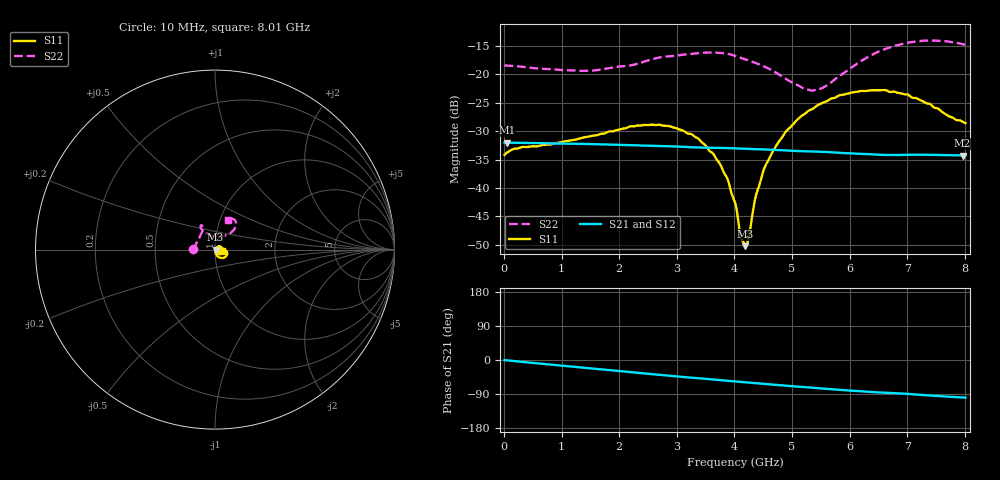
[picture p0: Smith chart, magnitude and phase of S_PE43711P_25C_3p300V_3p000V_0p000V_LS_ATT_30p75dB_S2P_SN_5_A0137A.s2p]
! Device ID: PE43711P
! File Path: z:\PE43711P\CHAR_NOM_04282014\AMB\3p300\LS_ATT_30p75dB\PE43711P_AMB_3p300V_3p000V_0p000V_LS_ATT_30p75dB_S2P_SN_5_A0137A.s2p
! Serial: 5
! Lot: A0137A
! Temp: 25C
! VDD: 3.300
! VSS: 0.000
! Control_Hi: 3.000
! Control_Lo: 0.000
! Attenuation Step: 30.75dB
! Port 1: RF1
! Port 2: RF2
! ThroughPath:1-2
! IDD: 0.0001277888
! ISS: -1.295e-007
#  Hz  S  RI  R  50
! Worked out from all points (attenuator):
!   801 points, 10 MHz to 8.01 GHz, reference 50 ohm
!   highest |S21| = -32.02 dB at 50 MHz (marker M1); lowest = -34.3 dB at 7.96 GHz (marker M2)
!   lowest |S11| = -50.2 dB at 4.19 GHz (marker M3), VSWR 1.01, Z = 50.3 - j0.0964 ohm
!   |S11| at or under -10 dB: start of sweep to end of sweep
!   |S22| runs from -22.9 to -14.0 dB; largest |S21 - S12| = 9.2e-05
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1e7  0.0196 0.00055  0.0251 -9.41e-05  0.0251 -9.9e-05  -0.1204 0.000964
5e7  0.0204 0.00129  0.0251 -0.000365  0.0251 -0.000355  -0.1196 0.00313
1.35e9  0.0266 0.00714  0.023 -0.00843  0.023 -0.00844  -0.0934 0.053
2.2e9  0.0326 0.0125  0.0201 -0.0128  0.0201 -0.0128  -0.0719 0.0964
2.68e9  0.032 0.0167  0.0182 -0.0147  0.0183 -0.0147  -0.0695 0.122
3.25e9  0.0235 0.0184  0.0157 -0.0166  0.0157 -0.0166  -0.0719 0.1334
3.49e9  0.0172 0.0166  0.0147 -0.0173  0.0147 -0.0172  -0.0758 0.1356
3.76e9  0.0102 0.0122  0.0136 -0.018  0.0136 -0.018  -0.0799 0.1322
3.88e9  0.0075 0.00936  0.013 -0.0183  0.013 -0.0183  -0.0807 0.1281
4.01e9  0.00519 0.00539  0.0123 -0.0186  0.0123 -0.0187  -0.08 0.122
4.11e9  0.00336 0.00152  0.0119 -0.0188  0.0119 -0.0188  -0.0773 0.1165
4.19e9  0.00292 -0.000958  0.0115 -0.019  0.0114 -0.019  -0.0744 0.1133
4.25e9  0.0022 -0.00305  0.0111 -0.0191  0.0111 -0.019  -0.0718 0.1111
4.38e9  0.00169 -0.0087  0.0106 -0.0193  0.0106 -0.0193  -0.0666 0.1062
4.56e9  0.00283 -0.0163  0.0097 -0.0196  0.00967 -0.0196  -0.058 0.0988
4.9e9  0.00871 -0.0305  0.00805 -0.0198  0.00803 -0.0198  -0.0354 0.0835
5.35e9  0.0243 -0.043  0.00609 -0.0201  0.00611 -0.0201  0.00568 0.0717
5.85e9  0.0477 -0.0455  0.00385 -0.02  0.00385 -0.02  0.0587 0.0796
6.68e9  0.0672 -0.0215  0.00113 -0.0195  0.00114 -0.0195  0.1141 0.1286
7.3e9  0.0565 -0.00436  -0.000901 -0.0196  -0.000882 -0.0196  0.1103 0.1646
7.96e9  0.0381 -0.00492  -0.00294 -0.0191  -0.00295 -0.0191  0.0772 0.168
8.01e9  0.0367 -0.00643  -0.0031 -0.0191  -0.00314 -0.0191  0.0749 0.166
